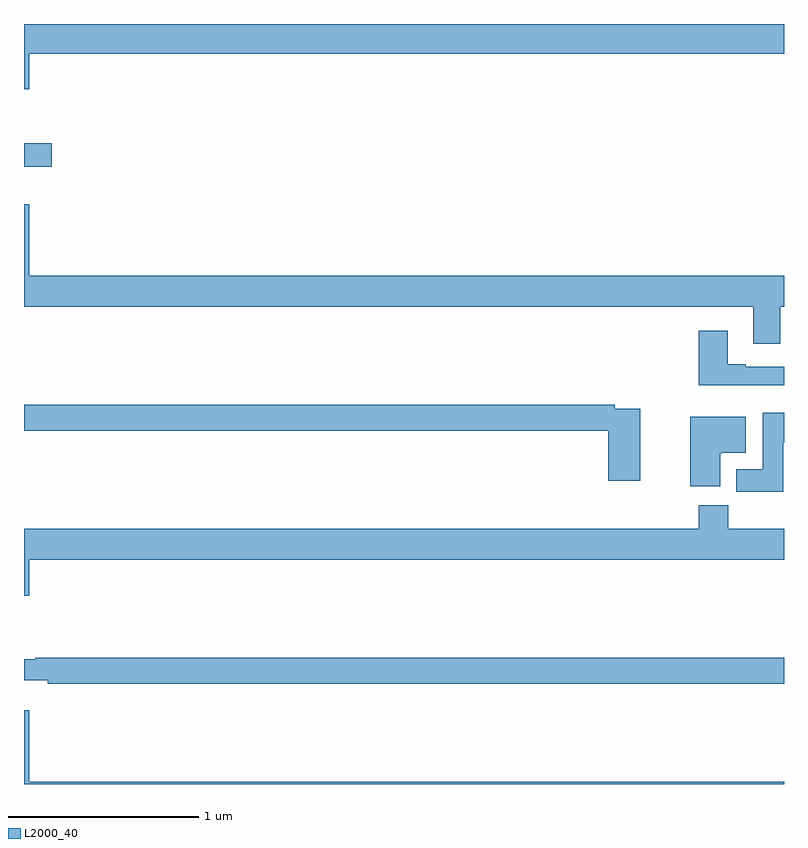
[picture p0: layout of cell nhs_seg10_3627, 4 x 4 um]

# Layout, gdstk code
import gdstk
lib = gdstk.Library(unit=1e-6, precision=1e-09)
def R(c, l, rs):  # rectangles x0, y0, x1, y1
    for r in rs: c.add(gdstk.rectangle(r[:2], r[2:], *l))
def P(c, l, *ps):  # polygons
    for p in ps: c.add(gdstk.Polygon(p, *l))
L2000_40 = (2000, 40)

nhs_seg10_3627 = lib.new_cell('nhs_seg10_3627')
R(nhs_seg10_3627, L2000_40, [(309,1271.75,309.145,1271.872)])
P(nhs_seg10_3627, L2000_40, [(309.028,1272.344),(313,1272.344),(313,1272.5),(309,1272.5),(309,1272.156),(309.028,1272.156)],
  [(312.979,1271.012),(313,1271.012),(313,1271.176),(309.028,1271.176),(309.028,1271.551),(309,1271.551),(309,1271.012),(312.839,1271.012),(312.839,1270.818),(312.979,1270.818)],
  [(313,1270.695),(312.799,1270.695),(312.799,1270.708),(312.703,1270.708),(312.703,1270.885),(312.551,1270.885),(312.551,1270.598),(313,1270.598)],
  [(312.244,1270.476),(312.11,1270.476),(312.11,1270.496),(309,1270.496),(309,1270.36),(312.074,1270.36),(312.074,1270.095),(312.244,1270.095)],
  [(312.997,1270.297),(313,1270.297),(313,1270.453),(312.887,1270.453),(312.887,1270.156),(312.749,1270.156),(312.749,1270.038),(312.997,1270.038)],
  [(312.664,1270.238),(312.67,1270.238),(312.67,1270.244),(312.799,1270.244),(312.799,1270.432),(312.506,1270.432),(312.506,1270.068),(312.664,1270.068)],
  [(309.028,1269.68),(313,1269.68),(313,1269.844),(312.707,1269.844),(312.707,1269.968),(312.551,1269.968),(312.551,1269.844),(309,1269.844),(309,1269.492),(309.028,1269.492)],
  [(313,1269.164),(309.058,1269.164),(309.058,1269.157),(309,1269.157),(309,1269.047),(309.124,1269.047),(309.124,1269.028),(313,1269.028)],
  [(313,1268.512),(309.028,1268.512),(309.028,1268.887),(309,1268.887),(309,1268.5),(313,1268.5)])

lib.write_gds('nhs_seg10_3627.gds')
